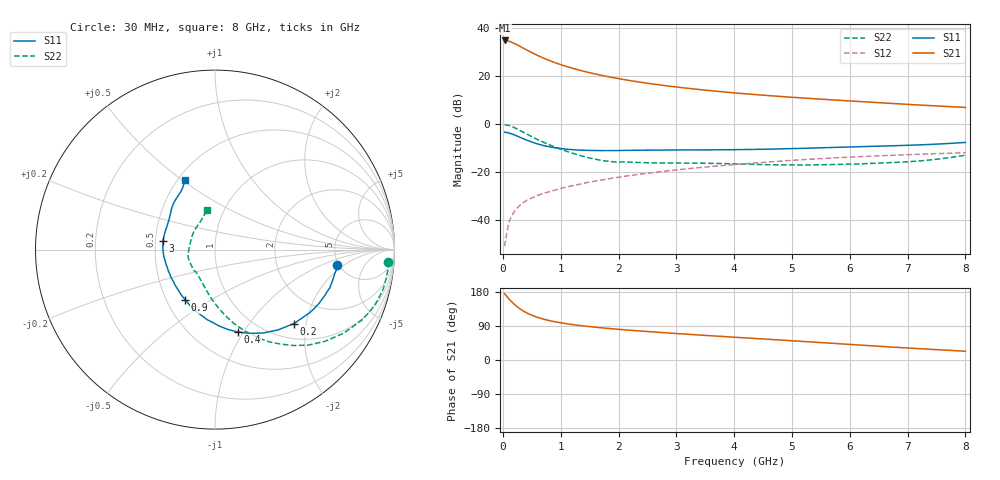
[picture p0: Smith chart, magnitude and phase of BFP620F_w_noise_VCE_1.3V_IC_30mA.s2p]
! (c) 2014  Infineon Technologies AG, Munich
! Infineon Technologies  Discrete & RF Semiconductors
! BFP620F
! VCE =  1.3 V,  IC =  30 mA
! Common Emitter S-Parameters:  Dec 2014
# GHz  S  MA  R  50
!  f  S11  S21  S12  S22
! GHz  MAG  ANG  MAG  ANG  MAG  ANG  MAG  ANG
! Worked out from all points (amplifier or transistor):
!   95 points, 30 MHz to 8 GHz, reference 50 ohm
!   highest |S21| = 35.0 dB at 30 MHz (marker M1)
!   |S21| within 3 dB of that: start of sweep to 337.4 MHz
!   unconditionally stable (mu >= 1): 2.498 GHz to end of sweep
!   at 300 MHz: K = 0.37, MSG = 33.1 dB, |S12| = -33.6 dB
!   at 3.3 GHz: K = 1.02, MAG = 15.6 dB, |S12| = -18.2 dB
!   at 8 GHz: K = 1.06, MAG = 8.0 dB, |S12| = -11.8 dB
!   lowest NFmin = 1.13 dB at 450 MHz
!   S11 on the Smith chart (normalised r, x): 30 MHz: 4.88, -1.55; 200 MHz: 1.32, -1.71; 400 MHz: 0.80, -0.94; 900 MHz: 0.62, -0.39; 3 GHz: 0.55, +0.06; 8 GHz: 0.54, +0.51
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0.03  0.6871 -7.0  56.03 174.7  0.0029 95.6  0.9675 -4.0
0.07  0.6758 -16.0  55.38 167.4  0.0056 88.2  0.9651 -11.5
0.11  0.6573 -24.9  53.59 160.3  0.0095 79.5  0.9432 -18.8
0.15  0.635 -33.4  51.52 154.0  0.0122 76.1  0.9085 -25.5
0.2  0.6031 -43.1  48.36 146.8  0.0154 72.5  0.855 -33.0
0.25  0.5684 -52.0  45.16 140.3  0.0184 69.8  0.799 -39.7
0.3  0.536 -60.1  42.02 134.6  0.0208 67.6  0.7438 -45.7
0.35  0.5053 -67.5  38.91 129.7  0.0233 66.2  0.6895 -50.8
0.4  0.4763 -74.5  36.15 125.3  0.0257 65.7  0.6391 -55.4
0.5  0.4287 -86.3  31.26 118.2  0.0293 63.6  0.5543 -63.3
0.6  0.3915 -96.7  27.3 112.5  0.0329 62.5  0.4828 -69.9
0.7  0.3631 -105.6  24.12 107.9  0.0364 62.3  0.4253 -75.6
0.9  0.3252 -120.6  19.36 100.9  0.0427 62.2  0.3378 -85.1
1.1  0.3033 -132.9  16.07 95.7  0.0494 62.1  0.2759 -93.8
1.4  0.29 -147.5  12.77 89.8  0.0594 62.1  0.2139 -106.3
2  0.2851 -168.5  8.987 81.0  0.0794 61.0  0.1624 -131.7
2.7  0.2915 175.8  6.675 73.0  0.1026 57.9  0.1571 -150.8
3  0.2929 170.1  6.017 69.8  0.1124 56.5  0.157 -156.5
4.1  0.298 153.6  4.436 59.2  0.1487 50.2  0.1491 -172.9
5.4  0.3224 140.0  3.413 46.9  0.1903 41.5  0.1437 161.1
6.7  0.3572 127.0  2.742 34.4  0.2259 31.7  0.1596 132.7
8  0.4208 113.8  2.257 23.0  0.2571 22.3  0.227 101.3
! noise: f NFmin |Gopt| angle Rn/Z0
0.45  1.13  0.05  -172  0.18
0.9  1.16  0.05  -171  0.14
1.5  1.18  0.12  -148  0.15
1.8  1.19  0.12  -147  0.16
1.9  1.19  0.12  -146  0.16
2.4  1.21  0.12  -146  0.17
3.5  1.27  0.14  -141  0.18
5.5  1.42  0.21  241  0.13
6  1.47  0.22  260  0.16
